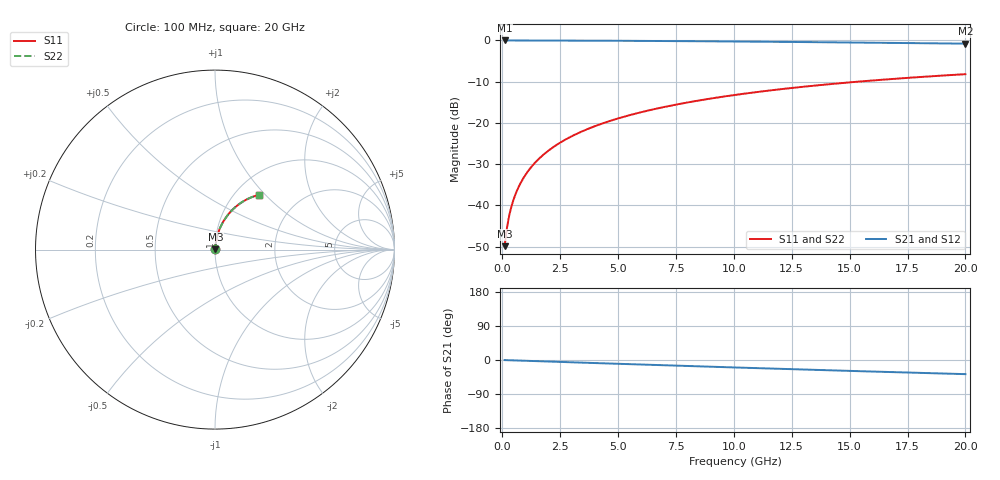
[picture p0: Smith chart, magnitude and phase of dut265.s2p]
! Touchstone file exported from HFSS 2026.1.0
!  File:  C:/ffzhzh/LocalFiles/Ansys_Project_Files/temp_train_TMRDL_265_1782985068_42984.aedt
!  Generated:  05:39:05 PM Jul  2, 2026
!  Design:  TMRDL
!  Project:  temp_train_TMRDL_265_1782985068_42984
! Variables:
!  h_bsmrdl = 2um
!  h_ox = 20um
!  h_rdl = 5um
!  h_sub = 80um
!  h_tmrdl = 4.23um
!  h_tsv = 80um
!  h_via = 3um
!  l_bsmrdl = 300um
!  l_sub = 894.4um
!  l_tmrdl = 494.4um
!  m_sub = 200um
!  pitch = 59.67um
!  r_tsv = 6um
!  s_tmrdl = 10um
!  w_bsmrdl = 18um
!  w_sub = 500um
!  w_tmrdl = 22.2um
!  x_tsv_center1 = 505.5um
!  x_tsv_center2 = 823.5um
!  x_tsv_center3 = 1340.1um
!  x_tsv_center4 = 1658.1um
!  x_tsv_center5 = 2174.7um
!  x_tsv_center6 = 2492.7um
# GHz S MA R 50.000000
! Terminal data exported
! Port[1] = TM_RDL1_1_T1
! Port[2] = TM_RDL1_1_T2
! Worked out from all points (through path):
!   200 points, 100 MHz to 20 GHz, reference 50 ohm
!   highest |S21| = -0.02 dB at 100 MHz (marker M1); lowest = -0.8 dB at 20 GHz (marker M2)
!   group delay of S21, straight-line fit = 5.19 ps
!   lowest |S11| = -49.9 dB at 100 MHz (marker M3), VSWR 1.01, Z = 50.2 + j0.246 ohm
!   |S11| at or under -10 dB: start of sweep to 15.39 GHz
!   |S22| runs from -49.9 to -8.2 dB; largest |S21 - S12| = 5.2e-15
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0.1  0.003192 50.1  0.998 -0.2  0.998 -0.2  0.003192 50.1
! Gamma 0 0 0 0
! Port Impedance 50 0 50 0
0.2  0.005308 65.9  0.9978 -0.4  0.9978 -0.4  0.005308 65.9
0.3  0.007545 72.1  0.9977 -0.6  0.9977 -0.6  0.007545 72.1
0.4  0.009795 75.4  0.9976 -0.8  0.9976 -0.8  0.009795 75.4
0.5  0.01205 77.5  0.9976 -1.0  0.9976 -1.0  0.01205 77.5
0.7  0.01657 79.9  0.9974 -1.4  0.9974 -1.4  0.01657 79.9
0.8  0.01884 80.6  0.9973 -1.6  0.9973 -1.6  0.01884 80.6
1  0.02338 81.6  0.9972 -2.0  0.9972 -2.0  0.02338 81.6
1.2  0.02794 82.1  0.997 -2.4  0.997 -2.4  0.02794 82.1
1.4  0.0325 82.4  0.9968 -2.8  0.9968 -2.8  0.0325 82.4
1.7  0.03934 82.4  0.9965 -3.4  0.9965 -3.4  0.03934 82.4
2  0.04617 82.3  0.9961 -4.1  0.9961 -4.1  0.04617 82.3
2.7  0.06203 81.6  0.9949 -5.5  0.9949 -5.5  0.06203 81.6
3.5  0.07999 80.4  0.9932 -7.1  0.9932 -7.1  0.07999 80.4
4.2  0.09553 79.2  0.9915 -8.4  0.9915 -8.4  0.09553 79.2
5  0.1131 77.8  0.9892 -10.0  0.9892 -10.0  0.1131 77.8
6.8  0.1516 74.5  0.9832 -13.5  0.9832 -13.5  0.1516 74.5
8.3  0.1828 71.7  0.9772 -16.4  0.9772 -16.4  0.1828 71.7
10.1  0.2189 68.5  0.9692 -19.8  0.9692 -19.8  0.2189 68.5
13.4  0.2812 62.6  0.9522 -25.9  0.9522 -25.9  0.2812 62.6
16.7  0.3381 56.9  0.9331 -31.7  0.9331 -31.7  0.3381 56.9
20  0.3891 51.5  0.9128 -37.3  0.9128 -37.3  0.3891 51.5
